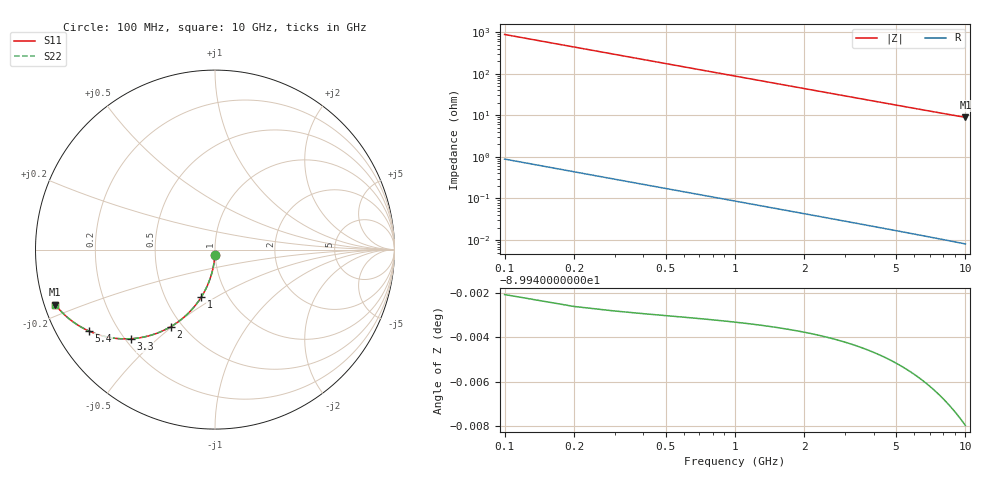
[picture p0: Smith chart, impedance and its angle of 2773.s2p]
# Hz S RI R 50.00
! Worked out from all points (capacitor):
!   100 points, 100 MHz to 10 GHz, reference 50 ohm
!   read as one part in shunt: C = 1.82 pF near 100 MHz
!   lowest |Z| = 8.9 ohm at 10 GHz (marker M1)
!   S11 on the Smith chart (normalised r, x): 100 MHz: 1.00, -0.06; 1 GHz: 0.75, -0.43; 2 GHz: 0.43, -0.49; 3.3 GHz: 0.22, -0.41; 5.4 GHz: 0.10, -0.29; 10 GHz: 0.03, -0.17
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1e8  -0.00081 -0.0285  0.9991 -0.0286  0.9991 -0.0286  -0.00081 -0.0285
2e8  -0.00327 -0.0568  0.9967 -0.057  0.9967 -0.057  -0.00327 -0.0568
3e8  -0.00734 -0.0849  0.9926 -0.0852  0.9926 -0.0852  -0.00734 -0.0849
4e8  -0.013 -0.1125  0.987 -0.113  0.987 -0.113  -0.013 -0.1125
5e8  -0.0201 -0.1396  0.9799 -0.1402  0.9799 -0.1402  -0.0201 -0.1396
6e8  -0.0286 -0.1661  0.9713 -0.1667  0.9713 -0.1667  -0.0286 -0.1661
7e8  -0.0386 -0.1917  0.9614 -0.1925  0.9614 -0.1925  -0.0386 -0.1917
8e8  -0.0498 -0.2166  0.9502 -0.2175  0.9502 -0.2175  -0.0498 -0.2166
1e9  -0.0756 -0.2633  0.9244 -0.2644  0.9244 -0.2644  -0.0756 -0.2633
1.2e9  -0.1053 -0.3058  0.8947 -0.3071  0.8947 -0.3071  -0.1053 -0.3058
1.4e9  -0.138 -0.3436  0.862 -0.3452  0.862 -0.3452  -0.138 -0.3436
1.8e9  -0.2091 -0.4052  0.7908 -0.4072  0.7908 -0.4072  -0.2091 -0.4052
2e9  -0.246 -0.4291  0.7539 -0.4313  0.7539 -0.4313  -0.246 -0.4291
2.6e9  -0.3552 -0.4766  0.6447 -0.4795  0.6447 -0.4795  -0.3552 -0.4766
3.3e9  -0.47 -0.4968  0.5299 -0.5004  0.5299 -0.5004  -0.47 -0.4968
3.4e9  -0.4849 -0.4974  0.515 -0.5012  0.515 -0.5012  -0.4849 -0.4974
4.2e9  -0.5894 -0.4891  0.4105 -0.4938  0.4105 -0.4938  -0.5894 -0.4891
5.1e9  -0.679 -0.4635  0.3209 -0.4692  0.3209 -0.4692  -0.679 -0.4635
5.4e9  -0.7033 -0.4532  0.2966 -0.4593  0.2966 -0.4593  -0.7033 -0.4532
6.7e9  -0.7848 -0.4066  0.2151 -0.4142  0.2151 -0.4142  -0.7848 -0.4066
8.4e9  -0.8514 -0.3503  0.1484 -0.3598  0.1484 -0.3598  -0.8514 -0.3503
1e10  -0.8904 -0.3061  0.1094 -0.3175  0.1094 -0.3175  -0.8904 -0.3061
